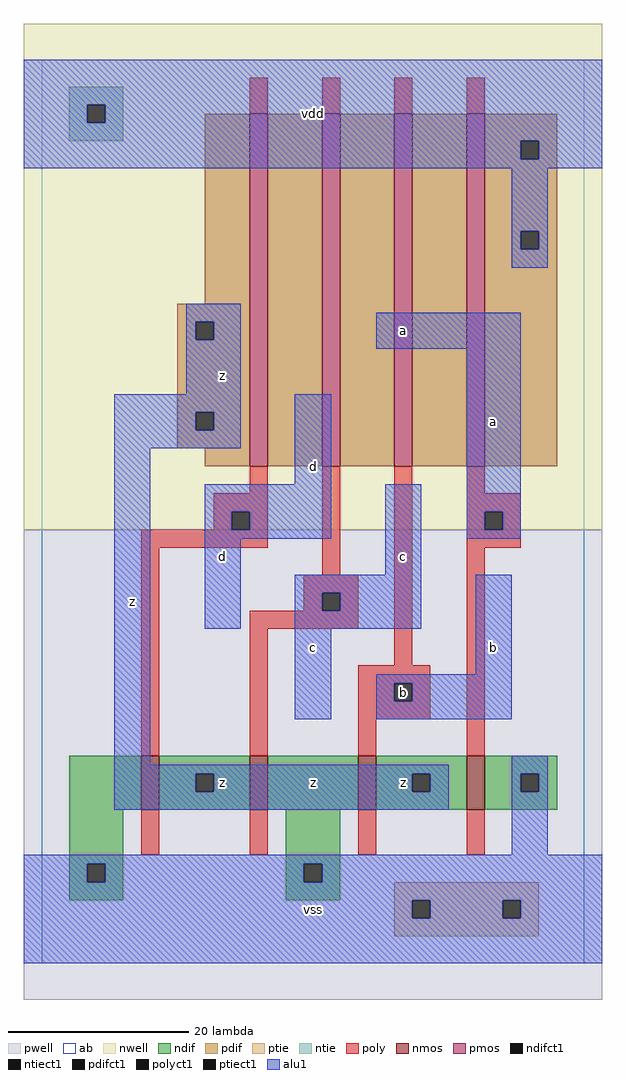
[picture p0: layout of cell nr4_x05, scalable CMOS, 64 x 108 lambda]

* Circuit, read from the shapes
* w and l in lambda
.subckt nr4_x05 a b c d vdd vss z
M1 z d vss vss nfet w=6 l=2
M2 vss c z vss nfet w=6 l=2
M3 z b vss vss nfet w=6 l=2
M4 vss a z vss nfet w=6 l=2
M5 n1 d z vdd pfet w=39 l=2
M6 n2 c n1 vdd pfet w=39 l=2
M7 n3 b n2 vdd pfet w=39 l=2
M8 vdd a n3 vdd pfet w=39 l=2
.ends

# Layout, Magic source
magic
tech scmos
<< ab >>
rect 0 0 60 100
<< nwell >>
rect -2 48 62 104
<< pwell >>
rect -2 -4 62 48
<< poly >>
rect 23 94 25 98
rect 31 94 33 98
rect 39 94 41 98
rect 47 94 49 98
rect 23 52 25 55
rect 19 50 25 52
rect 19 48 21 50
rect 23 48 25 50
rect 11 46 25 48
rect 11 23 13 46
rect 31 43 33 55
rect 29 41 35 43
rect 29 39 31 41
rect 33 39 35 41
rect 23 37 35 39
rect 23 23 25 37
rect 39 33 41 55
rect 47 52 49 55
rect 47 50 53 52
rect 47 48 49 50
rect 51 48 53 50
rect 47 46 53 48
rect 35 31 43 33
rect 35 29 39 31
rect 41 29 43 31
rect 35 27 43 29
rect 35 23 37 27
rect 47 23 49 46
rect 11 12 13 17
rect 23 12 25 17
rect 35 12 37 17
rect 47 12 49 17
<< ndif >>
rect 3 17 11 23
rect 13 21 23 23
rect 13 19 17 21
rect 19 19 23 21
rect 13 17 23 19
rect 25 17 35 23
rect 37 21 47 23
rect 37 19 41 21
rect 43 19 47 21
rect 37 17 47 19
rect 49 21 57 23
rect 49 19 53 21
rect 55 19 57 21
rect 49 17 57 19
rect 3 11 9 17
rect 3 9 5 11
rect 7 9 9 11
rect 3 7 9 9
rect 27 11 33 17
rect 27 9 29 11
rect 31 9 33 11
rect 27 7 33 9
<< pdif >>
rect 18 73 23 94
rect 15 71 23 73
rect 15 69 17 71
rect 19 69 23 71
rect 15 61 23 69
rect 15 59 17 61
rect 19 59 23 61
rect 15 57 23 59
rect 18 55 23 57
rect 25 55 31 94
rect 33 55 39 94
rect 41 55 47 94
rect 49 91 57 94
rect 49 89 53 91
rect 55 89 57 91
rect 49 81 57 89
rect 49 79 53 81
rect 55 79 57 81
rect 49 55 57 79
<< alu1 >>
rect -2 95 62 100
rect -2 93 5 95
rect 7 93 62 95
rect -2 91 62 93
rect -2 89 53 91
rect 55 89 62 91
rect -2 88 62 89
rect 52 81 56 88
rect 52 79 53 81
rect 55 79 56 81
rect 52 77 56 79
rect 16 71 22 73
rect 16 69 17 71
rect 19 69 22 71
rect 16 63 22 69
rect 37 68 53 72
rect 8 61 22 63
rect 8 59 17 61
rect 19 59 22 61
rect 8 57 22 59
rect 8 22 12 57
rect 28 53 32 63
rect 18 50 32 53
rect 18 48 21 50
rect 23 48 32 50
rect 18 47 32 48
rect 18 37 22 47
rect 38 43 42 53
rect 47 50 53 68
rect 47 48 49 50
rect 51 48 53 50
rect 47 47 53 48
rect 28 41 42 43
rect 28 39 31 41
rect 33 39 42 41
rect 28 37 42 39
rect 28 27 32 37
rect 48 32 52 43
rect 37 31 52 32
rect 37 29 39 31
rect 41 29 52 31
rect 37 27 52 29
rect 8 21 45 22
rect 8 19 17 21
rect 19 19 41 21
rect 43 19 45 21
rect 8 17 45 19
rect 52 21 56 23
rect 52 19 53 21
rect 55 19 56 21
rect 52 12 56 19
rect -2 11 62 12
rect -2 9 5 11
rect 7 9 29 11
rect 31 9 62 11
rect -2 7 62 9
rect -2 5 41 7
rect 43 5 51 7
rect 53 5 62 7
rect -2 0 62 5
<< ptie >>
rect 39 7 55 9
rect 39 5 41 7
rect 43 5 51 7
rect 53 5 55 7
rect 39 3 55 5
<< ntie >>
rect 3 95 9 97
rect 3 93 5 95
rect 7 93 9 95
rect 3 91 9 93
<< nmos >>
rect 11 17 13 23
rect 23 17 25 23
rect 35 17 37 23
rect 47 17 49 23
<< pmos >>
rect 23 55 25 94
rect 31 55 33 94
rect 39 55 41 94
rect 47 55 49 94
<< polyct1 >>
rect 21 48 23 50
rect 31 39 33 41
rect 49 48 51 50
rect 39 29 41 31
<< ndifct1 >>
rect 17 19 19 21
rect 41 19 43 21
rect 53 19 55 21
rect 5 9 7 11
rect 29 9 31 11
<< ntiect1 >>
rect 5 93 7 95
<< ptiect1 >>
rect 41 5 43 7
rect 51 5 53 7
<< pdifct1 >>
rect 17 69 19 71
rect 17 59 19 61
rect 53 89 55 91
rect 53 79 55 81
<< labels >>
rlabel alu1 20 20 20 20 6 z
rlabel alu1 10 40 10 40 6 z
rlabel alu1 20 45 20 45 6 d
rlabel alu1 20 65 20 65 6 z
rlabel alu1 30 6 30 6 6 vss
rlabel alu1 30 20 30 20 6 z
rlabel alu1 30 35 30 35 6 c
rlabel alu1 30 55 30 55 6 d
rlabel alu1 30 94 30 94 6 vdd
rlabel alu1 40 20 40 20 6 z
rlabel polyct1 40 30 40 30 6 b
rlabel alu1 40 45 40 45 6 c
rlabel alu1 40 70 40 70 6 a
rlabel alu1 50 35 50 35 6 b
rlabel alu1 50 60 50 60 6 a
<< end >>
